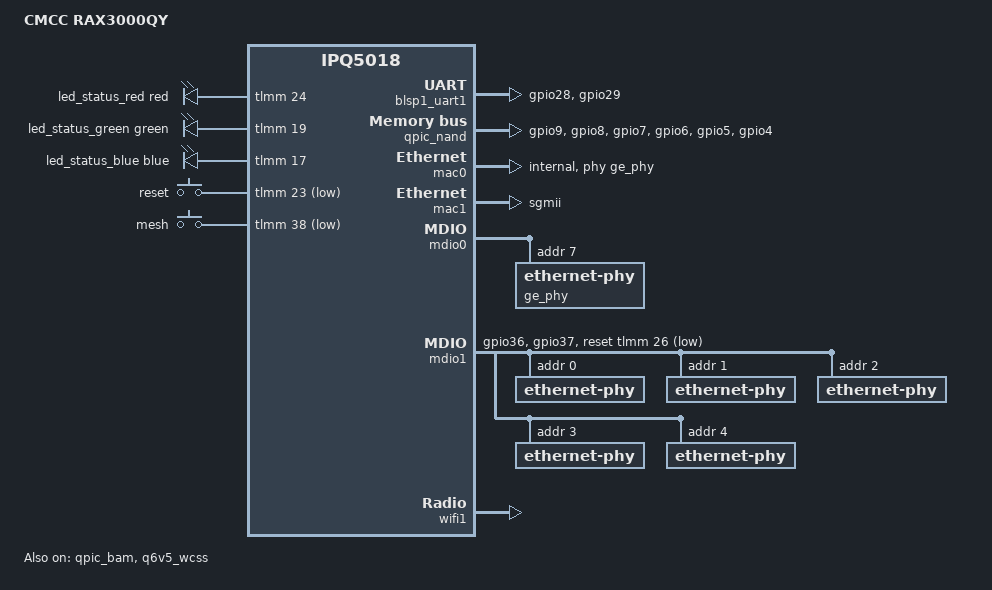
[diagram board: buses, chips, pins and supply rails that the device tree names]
// SPDX-License-Identifier: GPL-2.0+ OR BSD-3-Clause

/dts-v1/;

#include "ipq5018.dtsi"
#include "ipq5018-qcn6122.dtsi"

#include <dt-bindings/gpio/gpio.h>
#include <dt-bindings/input/input.h>
#include <dt-bindings/leds/common.h>

/ {
	model = "CMCC RAX3000QY";
	compatible = "cmcc,rax3000qy", "qcom,ipq5018";

	aliases {
		serial0 = &blsp1_uart1;

		ethernet0 = &mac0;
		ethernet1 = &mac1;

		led-boot     = &led_status_green;
		led-failsafe = &led_status_red;
		led-running  = &led_status_green;
		led-upgrade  = &led_status_blue;
	};

	chosen {
		stdout-path = "serial0:115200n8";
		bootargs-append = " root=/dev/ubiblock0_1 coherent_pool=2M";
	};
};

/* =======================
 * PINCTRL
 * ======================= */

&tlmm {
	uart_pins: uart-pins {
		pins = "gpio28", "gpio29";
		function = "blsp0_uart1";
		drive-strength = <8>;
		bias-disable;
	};

	qspi_nand_pins: qspi-nand-pins {
		clock {
			pins = "gpio9";
			function = "qspi_clk";
			drive-strength = <8>;
			bias-disable;
		};

		cs {
			pins = "gpio8";
			function = "qspi_cs";
			drive-strength = <8>;
			bias-disable;
		};

		data0 { pins = "gpio7"; function = "qspi0"; drive-strength = <8>; bias-disable; };
		data1 { pins = "gpio6"; function = "qspi1"; drive-strength = <8>; bias-disable; };
		data2 { pins = "gpio5"; function = "qspi2"; drive-strength = <8>; bias-disable; };
		data3 { pins = "gpio4"; function = "qspi3"; drive-strength = <8>; bias-disable; };
	};

	mdio1_pins: mdio1-pins {
		mdc {
			pins = "gpio36";
			function = "mdc";
			drive-strength = <8>;
			bias-pull-up;
		};

		mdio {
			pins = "gpio37";
			function = "mdio";
			drive-strength = <8>;
			bias-pull-up;
		};
	};

	led_pins: led-pins {
		pins = "gpio17", "gpio19", "gpio24";
		function = "gpio";
		drive-strength = <8>;
		bias-pull-down;
	};

	button_pins: button-pins {
		reset {
			pins = "gpio23";
			function = "gpio";
			bias-pull-up;
		};

		mesh {
			pins = "gpio38";
			function = "gpio";
			bias-pull-up;
		};
	};
};

/* =======================
 * UART
 * ======================= */

&blsp1_uart1 {
	pinctrl-0 = <&uart_pins>;
	pinctrl-names = "default";
	status = "okay";
};

/* =======================
 * NAND (⚠️ qpic_nand, not nand)
 * ======================= */

&qpic_bam {
	status = "okay";
};

&qpic_nand {
	pinctrl-0 = <&qspi_nand_pins>;
	pinctrl-names = "default";
	status = "okay";
};

/* =======================
 * LEDs / Buttons
 * ======================= */

&soc {
	leds {
		compatible = "gpio-leds";
		pinctrl-0 = <&led_pins>;
		pinctrl-names = "default";

		led_status_red: led-red {
			gpios = <&tlmm 24 GPIO_ACTIVE_HIGH>;
			color = <LED_COLOR_ID_RED>;
			function = LED_FUNCTION_STATUS;
			default-state = "on";
		};

		led_status_green: led-green {
			gpios = <&tlmm 19 GPIO_ACTIVE_HIGH>;
			color = <LED_COLOR_ID_GREEN>;
			function = LED_FUNCTION_STATUS;
		};

		led_status_blue: led-blue {
			gpios = <&tlmm 17 GPIO_ACTIVE_HIGH>;
			color = <LED_COLOR_ID_BLUE>;
			function = LED_FUNCTION_INTERNET;
		};
	};

	keys {
		compatible = "gpio-keys";
		pinctrl-0 = <&button_pins>;
		pinctrl-names = "default";

		reset {
			label = "reset";
			gpios = <&tlmm 23 GPIO_ACTIVE_LOW>;
			linux,code = <KEY_RESTART>;
			debounce-interval = <60>;
		};

		mesh {
			label = "mesh";
			gpios = <&tlmm 38 GPIO_ACTIVE_LOW>;
			linux,code = <KEY_WPS_BUTTON>;
			debounce-interval = <60>;
		};
	};
};

/* =======================
 * Ethernet / ESS
 * ======================= */

&mdio0 {
	status = "okay";

	resets = <&gcc GCC_GEPHY_MDC_SW_ARES>;
	reset-names = "phy";

	ge_phy: ethernet-phy@7 {
		reg = <7>;
	};
};

&mdio1 {
	status = "okay";
	pinctrl-0 = <&mdio1_pins>;
	pinctrl-names = "default";

	reset-gpios = <&tlmm 26 GPIO_ACTIVE_LOW>;

	ethernet-phy@0 { reg = <0>; };
	ethernet-phy@1 { reg = <1>; };
	ethernet-phy@2 { reg = <2>; };
	ethernet-phy@3 { reg = <3>; };
	ethernet-phy@4 { reg = <4>; };
};

&soc {
	mac0: dp1 {
		compatible = "qcom,nss-dp";
		device_type = "network";
		qcom,id = <1>;
		reg = <0x39c00000 0x10000>;
		interrupts = <GIC_SPI 101 IRQ_TYPE_LEVEL_HIGH>;
		clocks = <&gcc GCC_SNOC_GMAC0_AXI_CLK>;
		clock-names = "nss-snoc-gmac-axi-clk";
		qcom,mactype = <2>;
		phy-handle = <&ge_phy>;
		phy-mode = "internal";
	};

	mac1: dp2 {
		compatible = "qcom,nss-dp";
		device_type = "network";
		qcom,id = <2>;
		reg = <0x39d00000 0x10000>;
		interrupts = <GIC_SPI 109 IRQ_TYPE_LEVEL_HIGH>;
		clocks = <&gcc GCC_SNOC_GMAC1_AXI_CLK>;
		clock-names = "nss-snoc-gmac-axi-clk";
		qcom,mactype = <2>;
		phy-mode = "sgmii";
	};
};

/* =======================
 * Remoteproc / Wi-Fi
 * ======================= */

&q6v5_wcss {
	status = "okay";
};

/*
 * IPQ5018 内置 Wi-Fi：
 * ❌ 不要写 wifi0
 * ✔ ath11k 通过 remoteproc 自动创建
 */

/* QCN6122 (5G) */
&wifi1 {
	status = "okay";

	qcom,rproc = <&q6_wcss_pd2>;
	qcom,userpd-subsys-name = "q6v5_wcss_userpd2";

	qcom,ath11k-fw-memory-mode = <2>;
	qcom,bdf-addr = <0x4d100000>;
	qcom,m3-dump-addr = <0x4df00000>;
};
